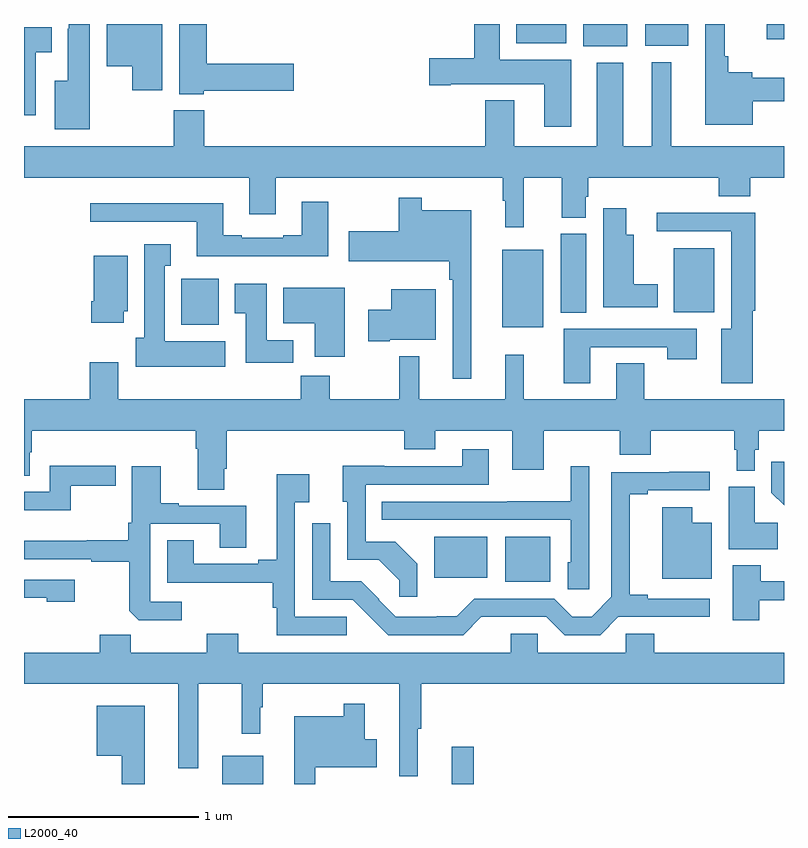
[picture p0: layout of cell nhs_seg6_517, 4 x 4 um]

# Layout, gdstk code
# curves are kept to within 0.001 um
import gdstk
lib = gdstk.Library(unit=1e-6, precision=1e-09)
def R(c, l, rs):  # rectangles x0, y0, x1, y1
    for r in rs: c.add(gdstk.rectangle(r[:2], r[2:], *l))
def P(c, l, *ps):  # polygons
    for p in ps: c.add(gdstk.Polygon(p, *l))
L2000_40 = (2000, 40)

nhs_seg6_517 = lib.new_cell('nhs_seg6_517')
R(nhs_seg6_517, L2000_40, [(144.044,921.5,144.259,921.649), (145.25,921.5,145.367,921.697), (145.532,922.565,145.771,922.801), (145.16,922.586,145.438,922.801), (145.517,923.903,145.732,924.313), (143.828,923.918,144.025,924.16), (145.826,923.98,145.96,924.396), (146.42,923.984,146.632,924.319), (145.943,925.382,146.176,925.5), (146.27,925.385,146.497,925.5), (145.592,925.4,145.855,925.5), (146.91,925.421,147,925.5)])
P(nhs_seg6_517, L2000_40, [(145.879,925.312),(145.504,925.312),(145.504,925.5),(145.37,925.5),(145.37,925.319),(145.134,925.319),(145.134,925.177),(145.246,925.177),(145.246,925.184),(145.739,925.184),(145.739,924.96),(145.879,924.96)],
  [(143.347,925.5),(143.235,925.5),(143.235,925.475),(143.231,925.475),(143.231,925.201),(143.162,925.201),(143.162,924.947),(143.347,924.947)],
  [(143.728,925.5),(143.435,925.5),(143.435,925.277),(143.57,925.277),(143.57,925.152),(143.728,925.152)],
  [(146.836,925.094),(147,925.094),(147,925.216),(146.832,925.216),(146.832,925.247),(146.707,925.247),(146.707,925.33),(146.689,925.33),(146.689,925.5),(146.585,925.5),(146.585,924.971),(146.836,924.971)],
  [(143.946,925.15),(144.421,925.15),(144.421,925.292),(143.963,925.292),(143.963,925.5),(143.816,925.5),(143.816,925.13),(143.946,925.13)],
  [(143.062,925.352),(143.146,925.352),(143.146,925.483),(143,925.483),(143,925.02),(143.062,925.02)],
  [(145.631,924.692),(145.829,924.692),(145.829,924.481),(145.957,924.481),(145.957,924.591),(145.97,924.591),(145.97,924.692),(146.657,924.692),(146.657,924.593),(146.822,924.593),(146.822,924.692),(147,924.692),(147,924.856),(146.407,924.856),(146.407,925.3),(146.303,925.3),(146.303,924.856),(146.155,924.856),(146.155,925.297),(146.015,925.297),(146.015,924.856),(145.579,924.856),(145.579,925.099),(145.427,925.099),(145.427,924.856),(143.948,924.856),(143.948,925.045),(143.788,925.045),(143.788,924.856),(143,924.856),(143,924.692),(144.185,924.692),(144.185,924.498),(144.325,924.498),(144.325,924.692),(145.521,924.692),(145.521,924.569),(145.532,924.569),(145.532,924.429),(145.631,924.429)],
  [(145.354,924.52),(145.093,924.52),(145.093,924.586),(144.972,924.586),(144.972,924.409),(144.708,924.409),(144.708,924.251),(145.237,924.251),(145.237,924.155),(145.257,924.155),(145.257,923.634),(145.354,923.634)],
  [(144.601,924.565),(144.461,924.565),(144.461,924.388),(144.365,924.388),(144.365,924.375),(144.145,924.375),(144.145,924.388),(144.049,924.388),(144.049,924.556),(143.349,924.556),(143.349,924.459),(143.909,924.459),(143.909,924.278),(144.601,924.278)],
  [(146.335,924.13),(146.209,924.13),(146.209,924.391),(146.17,924.391),(146.17,924.529),(146.048,924.529),(146.048,924.008),(146.335,924.008)],
  [(146.836,923.992),(146.849,923.992),(146.849,924.506),(146.331,924.506),(146.331,924.408),(146.723,924.408),(146.723,923.896),(146.669,923.896),(146.669,923.61),(146.836,923.61)],
  [(144.058,923.83),(143.74,923.83),(143.74,924.227),(143.773,924.227),(143.773,924.34),(143.633,924.34),(143.633,923.85),(143.588,923.85),(143.588,923.696),(144.058,923.696)],
  [(143.524,923.988),(143.545,923.988),(143.545,924.28),(143.366,924.28),(143.366,924.04),(143.354,924.04),(143.354,923.928),(143.524,923.928)],
  [(144.416,923.836),(144.277,923.836),(144.277,924.133),(144.11,924.133),(144.11,923.977),(144.167,923.977),(144.167,923.718),(144.416,923.718)],
  [(144.688,924.112),(144.365,924.112),(144.365,923.924),(144.53,923.924),(144.53,923.748),(144.688,923.748)],
  [(144.925,923.837),(145.168,923.837),(145.168,924.103),(144.932,924.103),(144.932,923.995),(144.813,923.995),(144.813,923.83),(144.925,923.83)],
  [(145.981,923.799),(146.386,923.799),(146.386,923.736),(146.542,923.736),(146.542,923.895),(145.841,923.895),(145.841,923.61),(145.981,923.61)],
  [(144.055,923.158),(144.068,923.158),(144.068,923.36),(145.001,923.36),(145.001,923.261),(145.165,923.261),(145.165,923.36),(145.571,923.36),(145.571,923.154),(145.735,923.154),(145.735,923.36),(146.135,923.36),(146.135,923.232),(146.299,923.232),(146.299,923.36),(146.739,923.36),(146.739,923.259),(146.75,923.259),(146.75,923.15),(146.847,923.15),(146.847,923.259),(146.867,923.259),(146.867,923.36),(147,923.36),(147,923.524),(146.265,923.524),(146.265,923.714),(146.117,923.714),(146.117,923.524),(145.631,923.524),(145.631,923.758),(145.532,923.758),(145.532,923.524),(145.079,923.524),(145.079,923.752),(144.976,923.752),(144.976,923.524),(144.609,923.524),(144.609,923.648),(144.457,923.648),(144.457,923.524),(143.497,923.524),(143.497,923.719),(143.345,923.719),(143.345,923.524),(143,923.524),(143,923.122),(143.029,923.122),(143.029,923.247),(143.042,923.247),(143.042,923.36),(143.903,923.36),(143.903,923.264),(143.915,923.264),(143.915,923.05),(144.055,923.05)],
  [(145.071,922.66),(144.955,922.776),(144.798,922.776),(144.798,923.076),(145.447,923.076),(145.447,923.263),(145.307,923.263),(145.307,923.172),(144.895,923.172),(144.895,923.174),(144.677,923.174),(144.677,922.986),(144.702,922.986),(144.702,922.68),(144.868,922.68),(144.976,922.572),(144.976,922.485),(145.071,922.485)],
  [(147,923.197),(146.932,923.197),(146.932,923.034),(147,922.966)],
  [(143.245,923.071),(143.482,923.071),(143.482,923.174),(143.136,923.174),(143.136,923.037),(143,923.037),(143,922.94),(143.245,922.94)],
  [(145.974,923.173),(145.877,923.173),(145.877,922.987),(145.543,922.987),(145.543,922.986),(144.883,922.986),(144.883,922.89),(145.878,922.89),(145.878,922.668),(145.862,922.668),(145.862,922.525),(145.974,922.525)],
  [(143.83,922.458),(143.664,922.458),(143.664,922.869),(144.029,922.869),(144.029,922.744),(144.169,922.744),(144.169,922.965),(143.815,922.965),(143.815,922.978),(143.719,922.978),(143.719,923.173),(143.568,923.173),(143.568,922.876),(143.548,922.876),(143.548,922.784),(143.329,922.784),(143.329,922.78),(143,922.78),(143,922.683),(143.353,922.683),(143.353,922.671),(143.553,922.671),(143.553,922.413),(143.605,922.362),(143.83,922.362)],
  [(145.406,922.379),(145.749,922.38),(145.845,922.284),(146.032,922.284),(146.128,922.38),(146.608,922.379),(146.608,922.476),(146.284,922.476),(146.284,922.496),(146.188,922.496),(146.188,923.026),(146.284,923.026),(146.284,923.046),(146.608,923.046),(146.608,923.144),(146.395,923.144),(146.395,923.142),(146.091,923.142),(146.091,922.485),(145.987,922.381),(145.886,922.381),(145.791,922.476),(145.371,922.476),(145.277,922.382),(145.172,922.382),(145.172,922.38),(144.957,922.38),(144.867,922.47),(144.869,922.472),(144.775,922.566),(144.612,922.566),(144.612,922.873),(144.516,922.873),(144.516,922.47),(144.729,922.47),(144.917,922.284),(145.311,922.284)],
  [(144.699,922.38),(144.426,922.38),(144.426,922.982),(144.502,922.982),(144.502,923.131),(144.329,923.131),(144.329,922.679),(144.233,922.679),(144.233,922.659),(143.893,922.659),(143.893,922.784),(143.753,922.784),(143.753,922.558),(144.31,922.558),(144.31,922.427),(144.329,922.427),(144.329,922.284),(144.699,922.284)],
  [(146.966,922.874),(146.845,922.874),(146.845,923.065),(146.708,923.065),(146.708,922.736),(146.966,922.736)],
  [(146.62,922.876),(146.518,922.876),(146.518,922.957),(146.36,922.957),(146.36,922.58),(146.62,922.58)],
  [(146.869,922.467),(147,922.467),(147,922.567),(146.877,922.567),(146.877,922.651),(146.729,922.651),(146.729,922.362),(146.869,922.362)],
  [(143.266,922.575),(143,922.575),(143,922.479),(143.121,922.479),(143.121,922.46),(143.266,922.46)],
  [(144.127,922.291),(143.963,922.291),(143.963,922.192),(143.563,922.192),(143.563,922.285),(143.399,922.285),(143.399,922.192),(143,922.192),(143,922.028),(143.813,922.028),(143.813,921.584),(143.917,921.584),(143.917,922.028),(144.145,922.028),(144.145,921.765),(144.244,921.765),(144.244,921.905),(144.256,921.905),(144.256,922.028),(144.974,922.028),(144.974,921.823),(144.975,921.823),(144.975,921.54),(145.073,921.54),(145.073,921.792),(145.091,921.792),(145.091,922.028),(147,922.028),(147,922.192),(146.318,922.192),(146.318,922.29),(146.166,922.29),(146.166,922.192),(145.704,922.192),(145.704,922.29),(145.562,922.29),(145.562,922.192),(144.127,922.192)],
  [(144.532,921.587),(144.856,921.587),(144.856,921.735),(144.794,921.735),(144.794,921.922),(144.684,921.922),(144.684,921.856),(144.422,921.856),(144.422,921.5),(144.532,921.5)],
  [(143.635,921.913),(143.384,921.913),(143.384,921.65),(143.514,921.65),(143.514,921.5),(143.635,921.5)])

lib.write_gds('nhs_seg6_517.gds')
